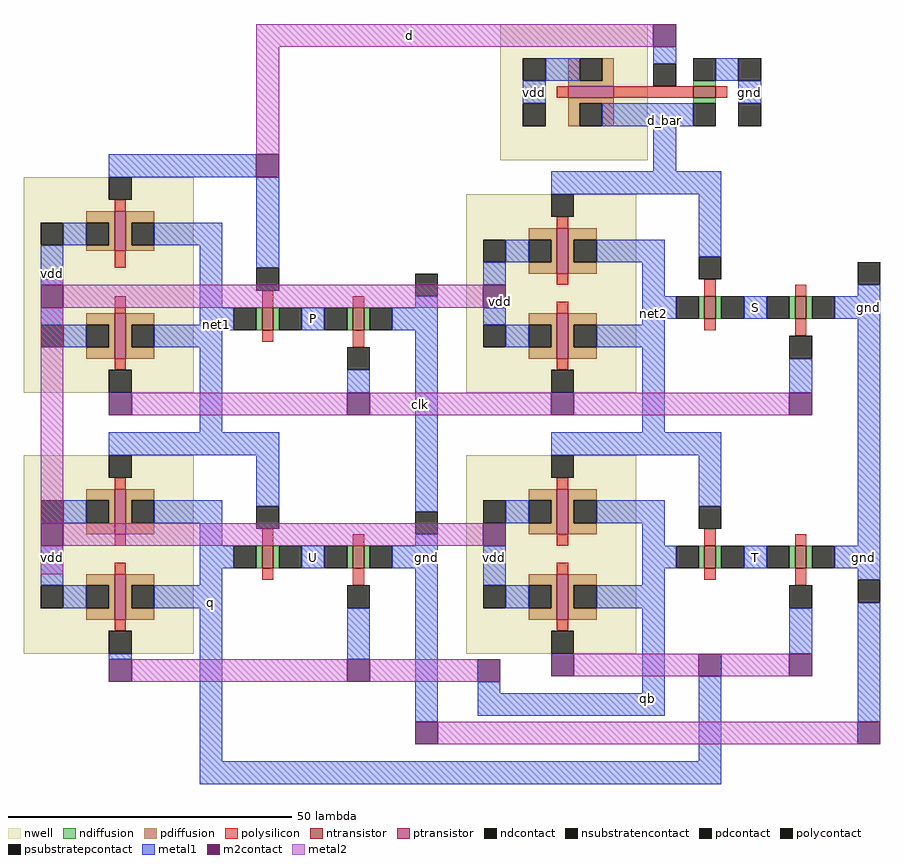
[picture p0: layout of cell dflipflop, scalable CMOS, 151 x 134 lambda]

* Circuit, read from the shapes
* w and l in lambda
.subckt dflipflop P S T U clk d d_bar gnd net1 net2 q qb vdd
M1 U net1 q gnd nfet w=4 l=2
M2 P d net1 gnd nfet w=4 l=2
M3 gnd qb U gnd nfet w=4 l=2
M4 gnd clk P gnd nfet w=4 l=2
M5 gnd d d_bar gnd nfet w=4 l=2
M6 T net2 qb gnd nfet w=4 l=2
M7 S d_bar net2 gnd nfet w=4 l=2
M8 gnd q T gnd nfet w=4 l=2
M9 gnd clk S gnd nfet w=4 l=2
M10 q qb vdd vdd pfet w=8 l=2
M11 q net1 vdd vdd pfet w=8 l=2
M12 net1 clk vdd vdd pfet w=8 l=2
M13 net1 d vdd vdd pfet w=7 l=2
M14 qb q vdd vdd pfet w=8 l=2
M15 qb net2 vdd vdd pfet w=8 l=2
M16 net2 clk vdd vdd pfet w=8 l=2
M17 net2 d_bar vdd vdd pfet w=8 l=2
M18 vdd d d_bar vdd pfet w=8 l=2
.ends

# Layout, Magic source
magic
tech scmos
<< nwell >>
rect 70 -13 96 11
rect -14 -54 16 -16
rect 64 -54 94 -19
rect -14 -100 16 -65
rect 64 -100 94 -65
<< ntransistor >>
rect 104 -2 108 0
rect 28 -43 30 -39
rect 44 -43 46 -39
rect 106 -41 108 -37
rect 122 -41 124 -37
rect 28 -85 30 -81
rect 44 -85 46 -81
rect 106 -85 108 -81
rect 122 -85 124 -81
<< ptransistor >>
rect 82 -2 90 0
rect 2 -29 4 -22
rect 80 -33 82 -25
rect 2 -48 4 -40
rect 80 -48 82 -40
rect 2 -79 4 -71
rect 80 -79 82 -71
rect 2 -94 4 -86
rect 80 -94 82 -86
<< ndiffusion >>
rect 104 0 108 1
rect 104 -3 108 -2
rect 27 -43 28 -39
rect 30 -43 31 -39
rect 43 -43 44 -39
rect 46 -43 47 -39
rect 105 -41 106 -37
rect 108 -41 109 -37
rect 121 -41 122 -37
rect 124 -41 125 -37
rect 27 -85 28 -81
rect 30 -85 31 -81
rect 43 -85 44 -81
rect 46 -85 47 -81
rect 105 -85 106 -81
rect 108 -85 109 -81
rect 121 -85 122 -81
rect 124 -85 125 -81
<< pdiffusion >>
rect 82 1 84 5
rect 88 1 90 5
rect 82 0 90 1
rect 82 -3 90 -2
rect 82 -7 84 -3
rect 88 -7 90 -3
rect -3 -24 2 -22
rect 1 -28 2 -24
rect -3 -29 2 -28
rect 4 -24 9 -22
rect 4 -28 5 -24
rect 75 -27 80 -25
rect 4 -29 9 -28
rect 79 -31 80 -27
rect 75 -33 80 -31
rect 82 -27 87 -25
rect 82 -31 83 -27
rect 82 -33 87 -31
rect -3 -42 2 -40
rect 1 -46 2 -42
rect -3 -48 2 -46
rect 4 -42 9 -40
rect 4 -46 5 -42
rect 75 -42 80 -40
rect 79 -46 80 -42
rect 4 -48 9 -46
rect 75 -48 80 -46
rect 82 -42 87 -40
rect 82 -46 83 -42
rect 82 -48 87 -46
rect -3 -73 2 -71
rect 1 -77 2 -73
rect -3 -79 2 -77
rect 4 -73 9 -71
rect 75 -73 80 -71
rect 4 -77 5 -73
rect 4 -79 9 -77
rect 79 -77 80 -73
rect 75 -79 80 -77
rect 82 -73 87 -71
rect 82 -77 83 -73
rect 82 -79 87 -77
rect -3 -88 2 -86
rect 1 -92 2 -88
rect -3 -94 2 -92
rect 4 -88 9 -86
rect 75 -88 80 -86
rect 4 -92 5 -88
rect 79 -92 80 -88
rect 4 -94 9 -92
rect 75 -94 80 -92
rect 82 -88 87 -86
rect 82 -92 83 -88
rect 82 -94 87 -92
<< ndcontact >>
rect 104 1 108 5
rect 104 -7 108 -3
rect 23 -43 27 -39
rect 31 -43 35 -39
rect 39 -43 43 -39
rect 47 -43 51 -39
rect 101 -41 105 -37
rect 109 -41 113 -37
rect 117 -41 121 -37
rect 125 -41 129 -37
rect 23 -85 27 -81
rect 31 -85 35 -81
rect 39 -85 43 -81
rect 47 -85 51 -81
rect 101 -85 105 -81
rect 109 -85 113 -81
rect 117 -85 121 -81
rect 125 -85 129 -81
<< pdcontact >>
rect 84 1 88 5
rect 84 -7 88 -3
rect -3 -28 1 -24
rect 5 -28 9 -24
rect 75 -31 79 -27
rect 83 -31 87 -27
rect -3 -46 1 -42
rect 5 -46 9 -42
rect 75 -46 79 -42
rect 83 -46 87 -42
rect -3 -77 1 -73
rect 5 -77 9 -73
rect 75 -77 79 -73
rect 83 -77 87 -73
rect -3 -92 1 -88
rect 5 -92 9 -88
rect 75 -92 79 -88
rect 83 -92 87 -88
<< psubstratepcontact >>
rect 112 1 116 5
rect 112 -7 116 -3
rect 55 -37 59 -33
rect 133 -35 137 -31
rect 55 -79 59 -75
rect 133 -91 137 -87
<< nsubstratencontact >>
rect 74 1 78 5
rect 74 -7 78 -3
rect -11 -28 -7 -24
rect 67 -31 71 -27
rect -11 -46 -7 -42
rect 67 -46 71 -42
rect -11 -77 -7 -73
rect 67 -77 71 -73
rect -11 -92 -7 -88
rect 67 -92 71 -88
<< polysilicon >>
rect 80 -2 82 0
rect 90 -2 104 0
rect 108 -2 110 0
rect 2 -22 4 -20
rect 80 -25 82 -23
rect 2 -32 4 -29
rect 2 -40 4 -37
rect 28 -39 30 -36
rect 80 -35 82 -33
rect 106 -37 108 -34
rect 122 -37 124 -35
rect 44 -39 46 -37
rect 80 -40 82 -38
rect 28 -45 30 -43
rect 44 -46 46 -43
rect 2 -50 4 -48
rect 106 -43 108 -41
rect 122 -44 124 -41
rect 80 -50 82 -48
rect 2 -71 4 -69
rect 80 -71 82 -69
rect 2 -81 4 -79
rect 28 -81 30 -78
rect 44 -81 46 -79
rect 80 -81 82 -79
rect 106 -81 108 -78
rect 122 -81 124 -79
rect 2 -86 4 -84
rect 28 -87 30 -85
rect 44 -88 46 -85
rect 80 -86 82 -84
rect 106 -87 108 -85
rect 122 -88 124 -85
rect 2 -96 4 -94
rect 80 -96 82 -94
<< polycontact >>
rect 97 0 101 4
rect 1 -20 5 -16
rect 79 -23 83 -19
rect 27 -36 31 -32
rect 105 -34 109 -30
rect 43 -50 47 -46
rect 121 -48 125 -44
rect 1 -54 5 -50
rect 79 -54 83 -50
rect 1 -69 5 -65
rect 79 -69 83 -65
rect 27 -78 31 -74
rect 105 -78 109 -74
rect 43 -92 47 -88
rect 121 -92 125 -88
rect 1 -100 5 -96
rect 79 -100 83 -96
<< metal1 >>
rect 78 1 84 5
rect 97 4 101 7
rect 74 -3 78 1
rect 108 1 112 5
rect 112 -3 116 1
rect 88 -7 104 -3
rect 1 -16 27 -12
rect 97 -15 101 -7
rect -7 -28 -3 -24
rect 9 -28 21 -24
rect -11 -35 -7 -28
rect -11 -42 -7 -39
rect 17 -39 21 -28
rect 27 -32 31 -16
rect 79 -19 109 -15
rect 71 -31 75 -27
rect 87 -31 99 -27
rect 55 -39 59 -37
rect 17 -42 23 -39
rect -7 -46 -3 -42
rect 9 -43 23 -42
rect 35 -43 39 -39
rect 51 -43 59 -39
rect 9 -46 21 -43
rect 17 -61 21 -46
rect 43 -54 47 -50
rect 1 -65 31 -61
rect -7 -77 -3 -73
rect 9 -77 21 -73
rect -11 -88 -7 -81
rect 17 -81 21 -77
rect 27 -74 31 -65
rect 55 -75 59 -43
rect 67 -35 71 -31
rect 67 -42 71 -39
rect 95 -37 99 -31
rect 105 -30 109 -19
rect 133 -37 137 -35
rect 95 -41 101 -37
rect 113 -41 117 -37
rect 129 -41 137 -37
rect 95 -42 99 -41
rect 71 -46 75 -42
rect 87 -46 99 -42
rect 95 -61 99 -46
rect 121 -54 125 -48
rect 79 -65 109 -61
rect 55 -81 59 -79
rect 17 -85 23 -81
rect 35 -85 39 -81
rect 51 -85 59 -81
rect 17 -88 21 -85
rect -7 -92 -3 -88
rect 9 -92 21 -88
rect 1 -101 5 -100
rect 17 -119 21 -92
rect 43 -101 47 -92
rect 55 -112 59 -85
rect 71 -77 75 -73
rect 87 -77 99 -73
rect 67 -88 71 -81
rect 95 -81 99 -77
rect 105 -74 109 -65
rect 133 -81 137 -41
rect 95 -85 101 -81
rect 113 -85 117 -81
rect 129 -85 137 -81
rect 95 -88 99 -85
rect 133 -87 137 -85
rect 71 -92 75 -88
rect 87 -92 99 -88
rect 66 -107 70 -105
rect 95 -107 99 -92
rect 121 -100 125 -92
rect 66 -111 99 -107
rect 105 -119 109 -104
rect 133 -112 137 -91
rect 17 -123 109 -119
<< m2contact >>
rect 97 7 101 11
rect 27 -16 31 -12
rect -11 -39 -7 -35
rect 1 -58 5 -54
rect 43 -58 47 -54
rect -11 -81 -7 -77
rect 67 -39 71 -35
rect 79 -58 83 -54
rect 121 -58 125 -54
rect 1 -105 5 -101
rect 43 -105 47 -101
rect 67 -81 71 -77
rect 66 -105 70 -101
rect 79 -104 83 -100
rect 105 -104 109 -100
rect 121 -104 125 -100
rect 55 -116 59 -112
rect 133 -116 137 -112
<< metal2 >>
rect 27 7 97 11
rect 27 -12 31 7
rect -11 -35 -7 -34
rect -7 -39 67 -35
rect -11 -77 -7 -39
rect 5 -58 43 -54
rect 47 -58 79 -54
rect 83 -58 121 -54
rect -7 -81 67 -77
rect -11 -86 -7 -81
rect 5 -105 43 -101
rect 47 -105 66 -101
rect 83 -104 105 -100
rect 109 -104 121 -100
rect 59 -116 133 -112
<< labels >>
rlabel metal1 -9 -33 -9 -33 3 vdd
rlabel metal1 -9 -83 -9 -83 3 vdd
rlabel metal1 57 -83 57 -83 1 gnd
rlabel metal1 69 -83 69 -83 1 vdd
rlabel metal1 19 -91 19 -91 1 q
rlabel metal1 134 -83 134 -83 7 gnd
rlabel metal1 96 -108 96 -108 1 qb
rlabel m2contact 70 -38 70 -38 1 vdd
rlabel metal1 135 -39 135 -39 7 gnd
rlabel metal1 99 -6 99 -6 1 d_bar
rlabel metal1 76 -1 76 -1 1 vdd
rlabel metal1 114 -1 114 -1 1 gnd
rlabel metal2 54 9 54 9 5 d
rlabel metal2 56 -56 56 -56 1 clk
rlabel metal1 20 -42 20 -42 1 net1
rlabel metal1 37 -41 37 -41 1 P
rlabel metal1 97 -40 97 -40 1 net2
rlabel metal1 115 -39 115 -39 1 S
rlabel metal1 115 -83 115 -83 1 T
rlabel metal1 37 -83 37 -83 1 U
<< end >>
